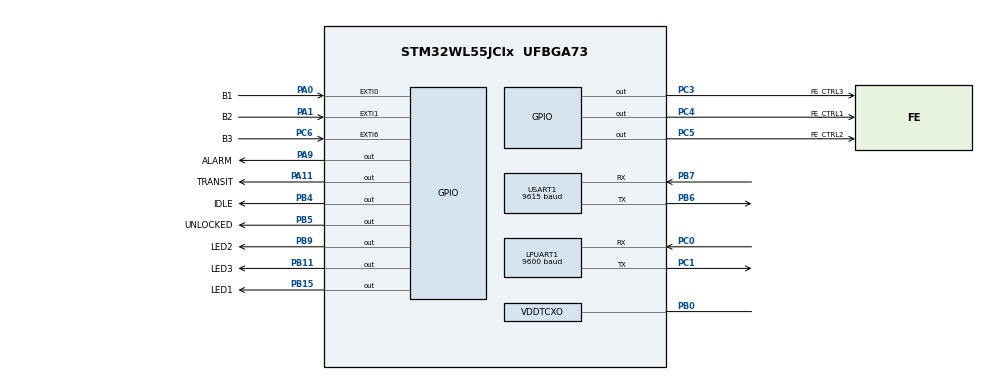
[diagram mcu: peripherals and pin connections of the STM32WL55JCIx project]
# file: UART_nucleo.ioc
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Dma.LPUART1_RX.1.Channel_PRIV_NPRIV=DMA_CHANNEL_NPRIV_DISABLE
Dma.LPUART1_RX.1.Direction=DMA_PERIPH_TO_MEMORY
Dma.LPUART1_RX.1.EventEnable=DISABLE
Dma.LPUART1_RX.1.Instance=DMA1_Channel1
Dma.LPUART1_RX.1.MemDataAlignment=DMA_MDATAALIGN_BYTE
Dma.LPUART1_RX.1.MemInc=DMA_MINC_ENABLE
Dma.LPUART1_RX.1.Mode=DMA_NORMAL
Dma.LPUART1_RX.1.PeriphDataAlignment=DMA_PDATAALIGN_BYTE
Dma.LPUART1_RX.1.PeriphInc=DMA_PINC_DISABLE
Dma.LPUART1_RX.1.Polarity=HAL_DMAMUX_REQ_GEN_RISING
Dma.LPUART1_RX.1.Priority=DMA_PRIORITY_LOW
Dma.LPUART1_RX.1.RequestNumber=1
Dma.LPUART1_RX.1.SignalID=NONE
Dma.LPUART1_RX.1.SyncEnable=DISABLE
Dma.LPUART1_RX.1.SyncPolarity=HAL_DMAMUX_SYNC_NO_EVENT
Dma.LPUART1_RX.1.SyncRequestNumber=1
Dma.LPUART1_RX.1.SyncSignalID=NONE
Dma.Request0=USART1_RX
Dma.Request1=LPUART1_RX
Dma.USART1_RX.0.Channel_PRIV_NPRIV=DMA_CHANNEL_NPRIV_DISABLE
Dma.USART1_RX.0.Direction=DMA_PERIPH_TO_MEMORY
Dma.USART1_RX.0.EventEnable=DISABLE
Dma.USART1_RX.0.Instance=DMA1_Channel2
Dma.USART1_RX.0.MemDataAlignment=DMA_MDATAALIGN_BYTE
Dma.USART1_RX.0.MemInc=DMA_MINC_ENABLE
Dma.USART1_RX.0.Mode=DMA_NORMAL
Dma.USART1_RX.0.PeriphDataAlignment=DMA_PDATAALIGN_BYTE
Dma.USART1_RX.0.PeriphInc=DMA_PINC_DISABLE
Dma.USART1_RX.0.Polarity=HAL_DMAMUX_REQ_GEN_RISING
Dma.USART1_RX.0.Priority=DMA_PRIORITY_LOW
Dma.USART1_RX.0.RequestNumber=1
Dma.USART1_RX.0.SignalID=NONE
Dma.USART1_RX.0.SyncEnable=DISABLE
Dma.USART1_RX.0.SyncPolarity=HAL_DMAMUX_SYNC_NO_EVENT
Dma.USART1_RX.0.SyncRequestNumber=1
Dma.USART1_RX.0.SyncSignalID=NONE
LPUART1.BaudRate=9600
LPUART1.DMADisableonRxErrorParam=UART_ADVFEATURE_DMA_DISABLEONRXERROR
LPUART1.FIFOMode=UART_FIFOMODE_ENABLE
LPUART1.OneBitSampling=UART_ONE_BIT_SAMPLE_ENABLE
LPUART1.OverrunDisableParam=UART_ADVFEATURE_OVERRUN_DISABLE
LPUART1.StopBits=UART_STOPBITS_1
Mcu.Family=STM32WL
Mcu.Name=STM32WL55JCIx
Mcu.Package=UFBGA73
NVIC.DMA1_Channel1_IRQn=true\:0\:0\:false\:true\:true\:1\:false\:true\:true
NVIC.DMA1_Channel2_IRQn=true\:0\:0\:false\:false\:true\:false\:true\:true
NVIC.LPUART1_IRQn=true\:0\:0\:false\:true\:true\:3\:true\:true\:true
NVIC.PriorityGroup=NVIC_PRIORITYGROUP_4
NVIC.USART1_IRQn=true\:0\:0\:false\:true\:true\:2\:true\:true\:true
OSC_IN.Mode=HSE-TCXO
OSC_IN.Signal=RCC_OSC_IN
PA0.GPIO_Label=B1
PA0.GPIO_ModeDefaultEXTI=GPIO_MODE_IT_FALLING
PA0.GPIO_PuPd=GPIO_PULLUP
PA0.Signal=GPXTI0
PA1.GPIO_Label=B2
PA1.GPIO_ModeDefaultEXTI=GPIO_MODE_IT_FALLING
PA1.GPIO_PuPd=GPIO_PULLUP
PA1.Signal=GPXTI1
PA11.GPIO_Label=TRANSIT
PA11.PinState=GPIO_PIN_SET
PA11.Signal=GPIO_Output
PA13.Mode=Serial_Wire
PA13.Signal=DEBUG_JTMS-SWDIO
PA14.Mode=Serial_Wire
PA14.Signal=DEBUG_JTCK-SWCLK
PA2.GPIO_Label=T_VCP_RX
PA2.Signal=USART2_TX
PA3.GPIO_Label=T_VCP_RX
PA3.Signal=USART2_RX
PA9.GPIO_Label=ALARM
PA9.PinState=GPIO_PIN_SET
PA9.Signal=GPIO_Output
PB0-VDD_TCXO.Mode=HSE-TCXO
PB0-VDD_TCXO.Signal=VDDTCXO
PB11.GPIO_Label=LED3
PB11.GPIO_Speed=GPIO_SPEED_FREQ_HIGH
PB11.Signal=GPIO_Output
PB15.GPIO_Label=LED1
PB15.GPIO_Speed=GPIO_SPEED_FREQ_HIGH
PB15.Signal=GPIO_Output
PB4.GPIO_Label=IDLE
PB4.PinState=GPIO_PIN_SET
PB4.Signal=GPIO_Output
PB5.GPIO_Label=UNLOCKED
PB5.PinState=GPIO_PIN_SET
PB5.Signal=GPIO_Output
PB6.Mode=Asynchronous
PB6.Signal=USART1_TX
PB7.Mode=Asynchronous
PB7.Signal=USART1_RX
PB9.GPIO_FM9=__NULL
PB9.GPIO_Label=LED2
PB9.GPIO_Speed=GPIO_SPEED_FREQ_HIGH
PB9.Signal=GPIO_Output
PC0.Mode=Asynchronous
PC0.Signal=LPUART1_RX
PC1.Mode=Asynchronous
PC1.Signal=LPUART1_TX
PC14-OSC32_IN.Mode=LSE-External-Oscillator
PC14-OSC32_IN.Signal=RCC_OSC32_IN
PC15-OSC32_OUT.Mode=LSE-External-Oscillator
PC15-OSC32_OUT.Signal=RCC_OSC32_OUT
PC3.GPIO_Label=FE_CTRL3
PC3.GPIO_Speed=GPIO_SPEED_FREQ_VERY_HIGH
PC3.Signal=GPIO_Output
PC4.GPIO_Label=FE_CTRL1
PC4.GPIO_Speed=GPIO_SPEED_FREQ_VERY_HIGH
PC4.Signal=GPIO_Output
PC5.GPIO_Label=FE_CTRL2
PC5.GPIO_Speed=GPIO_SPEED_FREQ_VERY_HIGH
PC5.Signal=GPIO_Output
PC6.GPIO_Label=B3
PC6.GPIO_ModeDefaultEXTI=GPIO_MODE_IT_FALLING
PC6.GPIO_PuPd=GPIO_PULLUP
PC6.Signal=GPXTI6
ProjectManager.HeapSize=0x200
ProjectManager.StackSize=0x400
ProjectManager.TargetToolchain=STM32CubeIDE
RCC.AHBFreq_Value=48000000
RCC.APB1Freq_Value=48000000
RCC.APB1TimFreq_Value=48000000
RCC.APB2Freq_Value=48000000
RCC.APB2TimFreq_Value=48000000
RCC.APB3Freq_Value=48000000
RCC.CortexFreq_Value=48000000
RCC.HCLKFreq_Value=48000000
RCC.HSE_VALUE=32000000
RCC.HSI_VALUE=16000000
RCC.LPUART1CLockSelection=RCC_LPUART1CLKSOURCE_HSI
RCC.LSE_VALUE=32768
RCC.MSIClockRange=RCC_MSIRANGE_11
RCC.PLLM=RCC_PLLM_DIV4
RCC.SYSCLKFreq_VALUE=48000000
RCC.SYSCLKSource=RCC_SYSCLKSOURCE_PLLCLK
RCC.USART1CLockSelection=RCC_USART1CLKSOURCE_HSI
RCC.VCOOutputFreq_Value=96000000
USART1.BaudRate=9615
USART1.FIFOMode=FIFOMODE_ENABLE
USART1.OneBitSampling=UART_ONE_BIT_SAMPLE_ENABLE
USART1.OverSampling=UART_OVERSAMPLING_8
USART1.VirtualMode-Asynchronous=VM_ASYNC
board=NUCLEO-WL55JC2

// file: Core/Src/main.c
/* USER CODE BEGIN Header */
/**
  ******************************************************************************
  * @file           : main.c
  * @brief          : Main program body
  ******************************************************************************
  * @attention
  *
  * Copyright (c) 2022 STMicroelectronics.
  * All rights reserved.
  *
  * This software is licensed under terms that can be found in the LICENSE file
  * in the root directory of this software component.
  * If no LICENSE file comes with this software, it is provided AS-IS.
  *
  ******************************************************************************
  */
/* USER CODE END Header */
#include "main.h"

/* USER CODE BEGIN Includes */
#include "stdint.h"
#include "btgps.h"
#include "stm32wlxx_it.h"
#include "btrfid.h"
#include "stm32wlxx_hal_uart.h"
/* USER CODE END Includes */

 UART_HandleTypeDef hlpuart1;
UART_HandleTypeDef huart1;
DMA_HandleTypeDef hdma_lpuart1_rx;
DMA_HandleTypeDef hdma_usart1_rx;

void SystemClock_Config(void);
static void MX_GPIO_Init(void);
static void MX_USART1_UART_Init(void);
static void MX_DMA_Init(void);
static void MX_LPUART1_UART_Init(void);
static void MX_NVIC_Init(void);

/* USER CODE BEGIN 0 */
uint8_t gps_buffer[100] = {0};
uint8_t dma_buffer[100] = {0};
uint8_t rxdata[90]= {0};
uint8_t testrxdata[90] = {0};
nmea_gpgga_t cur_gpsmsgbuf;
nmea_gpgga_t prev_gpsmgsbuf;
uint8_t rawbuf[24]={0};
uint8_t rfidbuf[13]={0};
uint8_t rfiddummydata[13]={0x3f,0xa6,0xe6,0xe6,0xe6,0x26,0x26,0xa9,0xf9,0x2e,0xca,0xd6,0xf2
};
statemachine_state_t mystate;
//IRQ test buffer
volatile uint8_t rfidrawbuf[50]={0};
volatile uint8_t rfidmsgbuf[15]={0};
/* USER CODE END 0 */

int main(void)
{
  /* USER CODE BEGIN 1 */
	mystate=BT_IDLE;
  /* USER CODE END 1 */

  /* MCU Configuration--------------------------------------------------------*/

  /* Reset of all peripherals, Initializes the Flash interface and the Systick. */
  HAL_Init();

  /* Configure the system clock */
  SystemClock_Config();

  /* Initialize all configured peripherals */
  MX_GPIO_Init();
  MX_USART1_UART_Init();
  MX_DMA_Init();
  MX_LPUART1_UART_Init();

  /* Initialize interrupts */
  MX_NVIC_Init();
  /* USER CODE BEGIN 2 */
  /// Enabling interrupts???
  //__HAL_UART_ENABLE_IT(&huart1, UART_IT_RXNE); // flag receive
  //__HAL_UART_ENABLE_IT(&huart1, UART_IT_TC); // flat Tx_IT

  HAL_GPIO_WritePin(IDLE_GPIO_Port, IDLE_Pin, GPIO_PIN_SET);
  HAL_GPIO_WritePin(IDLE_GPIO_Port, IDLE_Pin, GPIO_PIN_RESET);
  HAL_GPIO_WritePin(UNLOCKED_GPIO_Port, UNLOCKED_Pin, GPIO_PIN_SET);
  HAL_GPIO_WritePin(UNLOCKED_GPIO_Port, UNLOCKED_Pin, GPIO_PIN_RESET);
  HAL_GPIO_WritePin(TRANSIT_GPIO_Port, TRANSIT_Pin, GPIO_PIN_SET);
  HAL_GPIO_WritePin(TRANSIT_GPIO_Port, TRANSIT_Pin, GPIO_PIN_RESET);
  HAL_GPIO_WritePin(ALARM_GPIO_Port, ALARM_Pin, GPIO_PIN_SET);
  HAL_GPIO_WritePin(ALARM_GPIO_Port, ALARM_Pin, GPIO_PIN_RESET);
  /// State Machine Setup

  /* USER CODE END 2 */

  /* Infinite loop */
  /* USER CODE BEGIN WHILE */
  while (1)
  {
	 // prev_gpsmsgbuf = cur_gpsmsgbuf;
 	  get_gps(&huart1,&cur_gpsmsgbuf);
    /* USER CODE END WHILE */

    /* USER CODE BEGIN 3 */
	  //HAL_StatusTypeDef HAL_UART_Receive_DMA(UART_HandleTypeDef *huart, uint8_t *pData, uint16_t Size)
	  //HAL_StatusTypeDef res = HAL_UART_Receive_DMA(&hlpuart1, rfidbuf, 13);

 //	  HAL_UART_Transmit(&hlpuart1, rfiddummydata, 13, 100);
	//int res = get_gps(&huart1, &msgbuf);
	  switch (mystate){
	  case BT_IDLE	:
		  /*** Indicator LEDS ****/
		  HAL_GPIO_WritePin(IDLE_GPIO_Port, IDLE_Pin, GPIO_PIN_SET);
		  HAL_GPIO_WritePin(UNLOCKED_GPIO_Port, UNLOCKED_Pin, GPIO_PIN_RESET);
		  HAL_GPIO_WritePin(TRANSIT_GPIO_Port, TRANSIT_Pin, GPIO_PIN_RESET);
		  HAL_GPIO_WritePin(ALARM_GPIO_Port, ALARM_Pin, GPIO_PIN_RESET);
		  /*** Read RFID ***/
		  HAL_StatusTypeDef res = HAL_UART_Receive_IT(&hlpuart1,rfidrawbuf,40);
		  /*** Read GPS ***/
		  break;
	  case BT_UNLOCKED	:
		  HAL_GPIO_WritePin(IDLE_GPIO_Port, IDLE_Pin, GPIO_PIN_RESET);
		  HAL_GPIO_WritePin(UNLOCKED_GPIO_Port, UNLOCKED_Pin, GPIO_PIN_SET);
		  HAL_GPIO_WritePin(TRANSIT_GPIO_Port, TRANSIT_Pin, GPIO_PIN_RESET);
		  HAL_GPIO_WritePin(ALARM_GPIO_Port, ALARM_Pin, GPIO_PIN_RESET);
		  get_gps(&huart1,&cur_gpsmsgbuf);
		  break;
	  case BT_TRANSIT	:
		  HAL_GPIO_WritePin(IDLE_GPIO_Port, IDLE_Pin, GPIO_PIN_RESET);
		  HAL_GPIO_WritePin(UNLOCKED_GPIO_Port, UNLOCKED_Pin, GPIO_PIN_RESET);
		  HAL_GPIO_WritePin(TRANSIT_GPIO_Port, TRANSIT_Pin, GPIO_PIN_SET);
		  HAL_GPIO_WritePin(ALARM_GPIO_Port, ALARM_Pin, GPIO_PIN_RESET);
		  break;
	  case BT_ALARM:
		  HAL_GPIO_WritePin(IDLE_GPIO_Port, IDLE_Pin, GPIO_PIN_RESET);
		  HAL_GPIO_WritePin(UNLOCKED_GPIO_Port, UNLOCKED_Pin, GPIO_PIN_RESET);
		  HAL_GPIO_WritePin(TRANSIT_GPIO_Port, TRANSIT_Pin, GPIO_PIN_RESET);
		  HAL_GPIO_WritePin(ALARM_GPIO_Port, ALARM_Pin, GPIO_PIN_SET);
	  }
	//  VLU_Init(&huart1, gps_buffer, dma_buffer, 100);

  }

  /* USER CODE END 3 */
}

void SystemClock_Config(void)
{
  RCC_OscInitTypeDef RCC_OscInitStruct = {0};
  RCC_ClkInitTypeDef RCC_ClkInitStruct = {0};

  /** Configure LSE Drive Capability
  */
  HAL_PWR_EnableBkUpAccess();
  __HAL_RCC_LSEDRIVE_CONFIG(RCC_LSEDRIVE_LOW);

  /** Configure the main internal regulator output voltage
  */
  __HAL_PWR_VOLTAGESCALING_CONFIG(PWR_REGULATOR_VOLTAGE_SCALE1);

  /** Initializes the CPU, AHB and APB busses clocks
  */
  RCC_OscInitStruct.OscillatorType = RCC_OSCILLATORTYPE_HSI|RCC_OSCILLATORTYPE_LSE
                              |RCC_OSCILLATORTYPE_MSI;
  RCC_OscInitStruct.LSEState = RCC_LSE_ON;
  RCC_OscInitStruct.HSIState = RCC_HSI_ON;
  RCC_OscInitStruct.MSIState = RCC_MSI_ON;
  RCC_OscInitStruct.HSICalibrationValue = RCC_HSICALIBRATION_DEFAULT;
  RCC_OscInitStruct.MSICalibrationValue = RCC_MSICALIBRATION_DEFAULT;
  RCC_OscInitStruct.MSIClockRange = RCC_MSIRANGE_11;
  RCC_OscInitStruct.PLL.PLLState = RCC_PLL_ON;
  RCC_OscInitStruct.PLL.PLLSource = RCC_PLLSOURCE_MSI;
  RCC_OscInitStruct.PLL.PLLM = RCC_PLLM_DIV4;
  RCC_OscInitStruct.PLL.PLLN = 8;
  RCC_OscInitStruct.PLL.PLLP = RCC_PLLP_DIV2;
  RCC_OscInitStruct.PLL.PLLR = RCC_PLLR_DIV2;
  RCC_OscInitStruct.PLL.PLLQ = RCC_PLLQ_DIV2;
  if (HAL_RCC_OscConfig(&RCC_OscInitStruct) != HAL_OK)
  {
    Error_Handler();
  }

  /** Configure the SYSCLKSource, HCLK, PCLK1 and PCLK2 clocks dividers
  */
  RCC_ClkInitStruct.ClockType = RCC_CLOCKTYPE_HCLK3|RCC_CLOCKTYPE_HCLK
                              |RCC_CLOCKTYPE_SYSCLK|RCC_CLOCKTYPE_PCLK1
                              |RCC_CLOCKTYPE_PCLK2;
  RCC_ClkInitStruct.SYSCLKSource = RCC_SYSCLKSOURCE_PLLCLK;
  RCC_ClkInitStruct.AHBCLKDivider = RCC_SYSCLK_DIV1;
  RCC_ClkInitStruct.APB1CLKDivider = RCC_HCLK_DIV1;
  RCC_ClkInitStruct.APB2CLKDivider = RCC_HCLK_DIV1;
  RCC_ClkInitStruct.AHBCLK3Divider = RCC_SYSCLK_DIV1;

  if (HAL_RCC_ClockConfig(&RCC_ClkInitStruct, FLASH_LATENCY_2) != HAL_OK)
  {
    Error_Handler();
  }
}

/**
  * @brief NVIC Configuration.
  * @retval None
  */
static void MX_NVIC_Init(void)
{
  /* DMA1_Channel1_IRQn interrupt configuration */
  HAL_NVIC_SetPriority(DMA1_Channel1_IRQn, 0, 0);
  HAL_NVIC_EnableIRQ(DMA1_Channel1_IRQn);
  /* USART1_IRQn interrupt configuration */
  HAL_NVIC_SetPriority(USART1_IRQn, 0, 0);
  HAL_NVIC_EnableIRQ(USART1_IRQn);
  /* LPUART1_IRQn interrupt configuration */
  HAL_NVIC_SetPriority(LPUART1_IRQn, 0, 0);
  HAL_NVIC_EnableIRQ(LPUART1_IRQn);
}

static void MX_LPUART1_UART_Init(void)
{

  hlpuart1.Instance = LPUART1;
  hlpuart1.Init.BaudRate = 9600;
  hlpuart1.Init.WordLength = UART_WORDLENGTH_8B;
  hlpuart1.Init.StopBits = UART_STOPBITS_1;
  hlpuart1.Init.Parity = UART_PARITY_NONE;
  hlpuart1.Init.Mode = UART_MODE_TX_RX;
  hlpuart1.Init.HwFlowCtl = UART_HWCONTROL_NONE;
  hlpuart1.Init.OneBitSampling = UART_ONE_BIT_SAMPLE_ENABLE;
  hlpuart1.Init.ClockPrescaler = UART_PRESCALER_DIV1;
  hlpuart1.AdvancedInit.AdvFeatureInit = UART_ADVFEATURE_RXOVERRUNDISABLE_INIT|UART_ADVFEATURE_DMADISABLEONERROR_INIT;
  hlpuart1.AdvancedInit.OverrunDisable = UART_ADVFEATURE_OVERRUN_DISABLE;
  hlpuart1.AdvancedInit.DMADisableonRxError = UART_ADVFEATURE_DMA_DISABLEONRXERROR;
  hlpuart1.FifoMode = UART_FIFOMODE_ENABLE;
  if (HAL_UART_Init(&hlpuart1) != HAL_OK)
  {
    Error_Handler();
  }
  if (HAL_UARTEx_SetTxFifoThreshold(&hlpuart1, UART_TXFIFO_THRESHOLD_1_8) != HAL_OK)
  {
    Error_Handler();
  }
  if (HAL_UARTEx_SetRxFifoThreshold(&hlpuart1, UART_RXFIFO_THRESHOLD_1_8) != HAL_OK)
  {
    Error_Handler();
  }
  if (HAL_UARTEx_EnableFifoMode(&hlpuart1) != HAL_OK)
  {
    Error_Handler();
  }

}

static void MX_USART1_UART_Init(void)
{

  huart1.Instance = USART1;
  huart1.Init.BaudRate = 9615;
  huart1.Init.WordLength = UART_WORDLENGTH_8B;
  huart1.Init.StopBits = UART_STOPBITS_1;
  huart1.Init.Parity = UART_PARITY_NONE;
  huart1.Init.Mode = UART_MODE_TX_RX;
  huart1.Init.HwFlowCtl = UART_HWCONTROL_NONE;
  huart1.Init.OverSampling = UART_OVERSAMPLING_8;
  huart1.Init.OneBitSampling = UART_ONE_BIT_SAMPLE_ENABLE;
  huart1.Init.ClockPrescaler = UART_PRESCALER_DIV1;
  huart1.AdvancedInit.AdvFeatureInit = UART_ADVFEATURE_NO_INIT;
  if (HAL_UART_Init(&huart1) != HAL_OK)
  {
    Error_Handler();
  }
  if (HAL_UARTEx_SetTxFifoThreshold(&huart1, UART_TXFIFO_THRESHOLD_1_8) != HAL_OK)
  {
    Error_Handler();
  }
  if (HAL_UARTEx_SetRxFifoThreshold(&huart1, UART_RXFIFO_THRESHOLD_1_8) != HAL_OK)
  {
    Error_Handler();
  }
  if (HAL_UARTEx_EnableFifoMode(&huart1) != HAL_OK)
  {
    Error_Handler();
  }

}

static void MX_DMA_Init(void)
{

  /* DMA controller clock enable */
  __HAL_RCC_DMAMUX1_CLK_ENABLE();
  __HAL_RCC_DMA1_CLK_ENABLE();

  /* DMA interrupt init */
  /* DMA1_Channel2_IRQn interrupt configuration */
  HAL_NVIC_SetPriority(DMA1_Channel2_IRQn, 0, 0);
  HAL_NVIC_EnableIRQ(DMA1_Channel2_IRQn);

}

static void MX_GPIO_Init(void)
{
  GPIO_InitTypeDef GPIO_InitStruct = {0};

  /* GPIO Ports Clock Enable */
  __HAL_RCC_GPIOA_CLK_ENABLE();
  __HAL_RCC_GPIOB_CLK_ENABLE();
  __HAL_RCC_GPIOC_CLK_ENABLE();

  /*Configure GPIO pin Output Level */
  HAL_GPIO_WritePin(GPIOB, LED1_Pin|LED2_Pin|LED3_Pin, GPIO_PIN_RESET);

  /*Configure GPIO pin Output Level */
  HAL_GPIO_WritePin(GPIOA, TRANSIT_Pin|ALARM_Pin, GPIO_PIN_SET);

  /*Configure GPIO pin Output Level */
  HAL_GPIO_WritePin(GPIOB, IDLE_Pin|UNLOCKED_Pin, GPIO_PIN_SET);

  /*Configure GPIO pin Output Level */
  HAL_GPIO_WritePin(GPIOC, FE_CTRL3_Pin|FE_CTRL2_Pin|FE_CTRL1_Pin, GPIO_PIN_RESET);

  /*Configure GPIO pins : LED1_Pin LED2_Pin LED3_Pin */
  GPIO_InitStruct.Pin = LED1_Pin|LED2_Pin|LED3_Pin;
  GPIO_InitStruct.Mode = GPIO_MODE_OUTPUT_PP;
  GPIO_InitStruct.Pull = GPIO_NOPULL;
  GPIO_InitStruct.Speed = GPIO_SPEED_FREQ_HIGH;
  HAL_GPIO_Init(GPIOB, &GPIO_InitStruct);

  /*Configure GPIO pins : TRANSIT_Pin ALARM_Pin */
  GPIO_InitStruct.Pin = TRANSIT_Pin|ALARM_Pin;
  GPIO_InitStruct.Mode = GPIO_MODE_OUTPUT_PP;
  GPIO_InitStruct.Pull = GPIO_NOPULL;
  GPIO_InitStruct.Speed = GPIO_SPEED_FREQ_LOW;
  HAL_GPIO_Init(GPIOA, &GPIO_InitStruct);

  /*Configure GPIO pins : IDLE_Pin UNLOCKED_Pin */
  GPIO_InitStruct.Pin = IDLE_Pin|UNLOCKED_Pin;
  GPIO_InitStruct.Mode = GPIO_MODE_OUTPUT_PP;
  GPIO_InitStruct.Pull = GPIO_NOPULL;
  GPIO_InitStruct.Speed = GPIO_SPEED_FREQ_LOW;
  HAL_GPIO_Init(GPIOB, &GPIO_InitStruct);

  /*Configure GPIO pins : FE_CTRL3_Pin FE_CTRL2_Pin FE_CTRL1_Pin */
  GPIO_InitStruct.Pin = FE_CTRL3_Pin|FE_CTRL2_Pin|FE_CTRL1_Pin;
  GPIO_InitStruct.Mode = GPIO_MODE_OUTPUT_PP;
  GPIO_InitStruct.Pull = GPIO_NOPULL;
  GPIO_InitStruct.Speed = GPIO_SPEED_FREQ_VERY_HIGH;
  HAL_GPIO_Init(GPIOC, &GPIO_InitStruct);

  /*Configure GPIO pins : B1_Pin B2_Pin */
  GPIO_InitStruct.Pin = B1_Pin|B2_Pin;
  GPIO_InitStruct.Mode = GPIO_MODE_IT_FALLING;
  GPIO_InitStruct.Pull = GPIO_PULLUP;
  HAL_GPIO_Init(GPIOA, &GPIO_InitStruct);

  /*Configure GPIO pin : B3_Pin */
  GPIO_InitStruct.Pin = B3_Pin;
  GPIO_InitStruct.Mode = GPIO_MODE_IT_FALLING;
  GPIO_InitStruct.Pull = GPIO_PULLUP;
  HAL_GPIO_Init(B3_GPIO_Port, &GPIO_InitStruct);

  /*Configure GPIO pins : T_VCP_RX_Pin T_VCP_RXA2_Pin */
  GPIO_InitStruct.Pin = T_VCP_RX_Pin|T_VCP_RXA2_Pin;
  GPIO_InitStruct.Mode = GPIO_MODE_AF_PP;
  GPIO_InitStruct.Pull = GPIO_NOPULL;
  GPIO_InitStruct.Speed = GPIO_SPEED_FREQ_LOW;
  GPIO_InitStruct.Alternate = GPIO_AF7_USART2;
  HAL_GPIO_Init(GPIOA, &GPIO_InitStruct);

}

void Error_Handler(void)
{
  __disable_irq();
  while (1)
  {
  }
}
